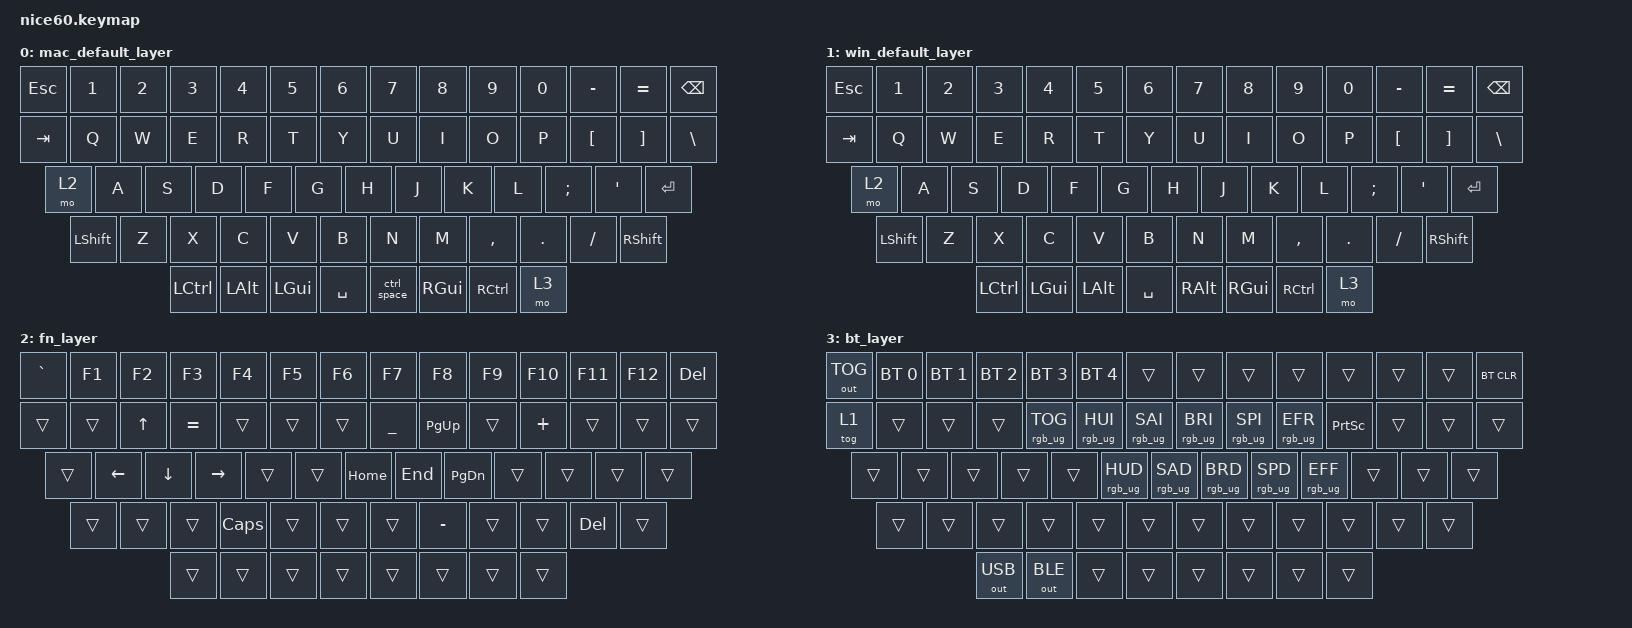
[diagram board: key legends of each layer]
/*
 * Copyright (c) 2021 Nick Winans
 * SPDX-License-Identifier: MIT
 *
 * nice!60 Peripheral 키맵
 * ─────────────────────────────────────────────────────────────
 * peripheral은 이 키맵을 빌드에 포함하지만 실제로 behavior를
 * 실행하지 않는다. 모든 동작은 동글(central)의 nice60_dongle.keymap
 * 에서 수행된다. 이 파일은 빌드 성공을 위해 존재한다.
 * ─────────────────────────────────────────────────────────────
 */

#include <behaviors.dtsi>
#include <dt-bindings/zmk/keys.h>
#include <dt-bindings/zmk/rgb.h>
#include <dt-bindings/zmk/bt.h>
#include <dt-bindings/zmk/outputs.h>
#include <dt-bindings/zmk/reset.h>
#include <dt-bindings/zmk/ext_power.h>

/ {
	macros {
        ctrl_space: ctrl_space {
            label = "ZM_ctrl_space";
            compatible = "zmk,behavior-macro";
            #binding-cells = <0>;
        wait-ms = <30>;
        tap-ms = <40>;
            bindings
                = <&macro_press &kp LCTRL>
                , <&macro_tap &kp SPACE>
                , <&macro_release &kp LCTRL>
                ;
        };
    };

	keymap {
		compatible = "zmk,keymap";

		mac_default_layer {
			bindings = <
	&kp ESC &kp N1 &kp N2 &kp N3 &kp N4 &kp N5 &kp N6 &kp N7 &kp N8 &kp N9 &kp N0 &kp MINUS &kp EQUAL  &kp BSPC
	&kp TAB  &kp Q  &kp W  &kp E  &kp R  &kp T  &kp Y  &kp U  &kp I  &kp O  &kp P  &kp LBKT  &kp RBKT  &kp BSLH
	&mo 2     &kp A  &kp S  &kp D  &kp F  &kp G  &kp H  &kp J  &kp K  &kp L  &kp SEMI &kp SQT           &kp RET
	&kp LSHFT  &kp Z  &kp X  &kp C  &kp V  &kp B  &kp N  &kp M  &kp COMMA &kp DOT &kp FSLH            &kp RSHFT
	&kp LCTRL &kp LALT &kp LGUI             &kp SPACE                      &ctrl_space &kp RGUI &kp RCTRL &mo 3
			>;
		};

		win_default_layer {
			bindings = <
	&kp ESC &kp N1 &kp N2 &kp N3 &kp N4 &kp N5 &kp N6 &kp N7 &kp N8 &kp N9 &kp N0 &kp MINUS &kp EQUAL  &kp BSPC
	&kp TAB  &kp Q  &kp W  &kp E  &kp R  &kp T  &kp Y  &kp U  &kp I  &kp O  &kp P  &kp LBKT  &kp RBKT  &kp BSLH
	&mo 2     &kp A  &kp S  &kp D  &kp F  &kp G  &kp H  &kp J  &kp K  &kp L  &kp SEMI &kp SQT           &kp RET
	&kp LSHFT  &kp Z  &kp X  &kp C  &kp V  &kp B  &kp N  &kp M  &kp COMMA &kp DOT &kp FSLH            &kp RSHFT
	&kp LCTRL &kp LGUI &kp LALT             &kp SPACE                        &kp RALT  &kp RGUI &kp RCTRL &mo 3
			>;
		};

		fn_layer {
			bindings = <
	&kp GRAVE &kp F1   &kp F2   &kp F3    &kp F4 &kp F5 &kp F6   &kp F7    &kp F8 &kp F9 &kp F10 &kp F11 &kp F12   &kp DEL
	&trans     &trans   &kp UP   &kp EQUAL &trans &trans &trans   &kp UNDER &kp PG_UP &trans &kp PLUS &trans &trans &trans
	&trans      &kp LEFT &kp DOWN &kp RIGHT &trans &trans &kp HOME &kp END   &kp PG_DN &trans &trans  &trans        &trans
	&trans       &trans   &trans   &kp CLCK  &trans &trans &trans   &kp MINUS &trans &trans &kp DEL                 &trans
	&trans &trans &trans                      &trans                           &trans       &trans      &trans      &trans
			>;
		};

		bt_layer {
			bindings = <
	&out OUT_TOG &bt BT_SEL 0 &bt BT_SEL 1 &bt BT_SEL 2 &bt BT_SEL 3 &bt BT_SEL 4    &trans          &trans          &trans          &trans          &trans          &trans &trans &bt BT_CLR
	&tog 1        &trans       &trans       &trans       &rgb_ug RGB_TOG &rgb_ug RGB_HUI &rgb_ug RGB_SAI &rgb_ug RGB_BRI &rgb_ug RGB_SPI &rgb_ug RGB_EFR &kp PSCRN &trans    &trans    &trans
	&trans         &trans       &trans       &trans       &trans          &rgb_ug RGB_HUD &rgb_ug RGB_SAD &rgb_ug RGB_BRD &rgb_ug RGB_SPD &rgb_ug RGB_EFF &trans          &trans       &trans
	&trans          &trans       &trans       &trans       &trans       &trans          &trans          &trans          &trans          &trans          &trans                         &trans
	&out OUT_USB  &out OUT_BLE  &trans                                  &trans                                            &trans               &trans              &trans             &trans
			>;
		};
	};
};
